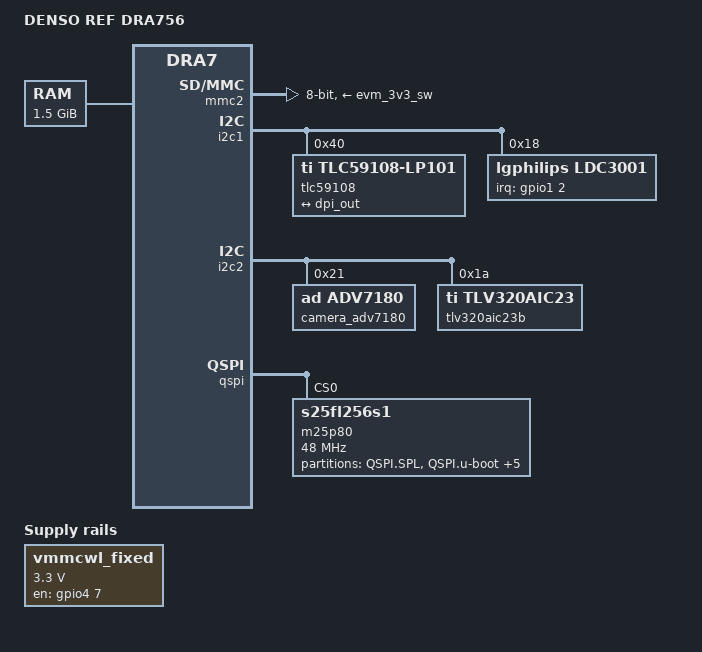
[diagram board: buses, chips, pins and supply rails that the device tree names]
/*
 * Copyright (C) 2013 Texas Instruments Incorporated - http://www.ti.com/
 *
 * This program is free software; you can redistribute it and/or modify
 * it under the terms of the GNU General Public License version 2 as
 * published by the Free Software Foundation.
 */
/dts-v1/;

#include "dra74x.dtsi"
#include <dt-bindings/interrupt-controller/irq.h>
#include <dt-bindings/gpio/gpio.h>
#include <dt-bindings/clk/ti-dra7-atl.h>
#include "dra7-densoJ6.dtsi"

/ {
	model = "DENSO REF DRA756";
	compatible = "denso,dra75xref", "ti,dra74", "ti,dra7";

	memory {
		device_type = "memory";
		reg = <0x80000000 0x60000000>; /* 2Gbyte = 2048 MB */
	};
	
	primary_sound: primary_sound {
		compatible = "ti,dra7xx-densoj6-audio";
		ti,model = "DRA7xx-EVM";
		/* Media DAI link */
		ti,media-cpu = <&mcasp3>;
		ti,media-codec = <&tlv320aic23b>;
		ti,media-mclk-freq =  <5644800>;
		ti,media-slots = <2>;
		clocks = <&sys_clkin1>;
		clock-names = "ti,codec-clock";
		/* symbol names from from tlv320aic23b data sheet" */
		ti,audio-routing =
			"Headphone", "LHPOUT",
			"Headphone", "RHPOUT",
			"LLINEIN", "Line Input",
			"RLINEIN", "Line Input",
			"Line Out", "LOUT",
			"Line Out", "ROUT",
			"MICIN", "Mic Input";
	};

	vmmcwl_fixed: fixedregulator-mmcwl {
		compatible = "regulator-fixed";
		regulator-name = "vmmcwl_fixed";
		regulator-min-microvolt = <3300000>;
		regulator-max-microvolt = <3300000>;
		gpio = <&gpio4 7 0>;	/* gpio4_7 Denso WiFi Enabled */
		startup-delay-us = <70000>;
		enable-active-high;
	};
	
};

&mmc2 {
	status = "okay";
	vmmc-supply = <&evm_3v3_sw>;
	bus-width = <8>;
	pinctrl-names = "default", "hs";
	pinctrl-0 = <&mmc2_pins_default>;
	pinctrl-1 = <&mmc2_pins_hs>;
};

&i2c1 {
	/* TLC chip for LCD panel power and backlight */
	tlc59108: tlc59108@40 {
		compatible = "ti,tlc59108-lp101";
		reg = <0x40>;
		
		port {
			tlc_in: endpoint {
				remote-endpoint = <&dpi_out>;
			};
		};
	};

	ldc3001:ldc3001@18 {
		compatible = "lgphilips,ldc3001";
		status = "okay";
		reg = <0x18>;
		interrupt-parent = <&gpio1>;
		interrupts = <2 IRQ_TYPE_LEVEL_HIGH>;
		max-touch-points = <10>;
		res-x = <1280>;
		res-y = <800>;
	};
};

&i2c2 {
	camera_adv7180: camera_adv7180 {
		compatible = "ad,adv7180";
		reg = <0x21>;
		/*gpios = <&gpio5 25 0>;   only one if IRQ is being used */
		/* interrupts = <27 0x8>; Invalid value */

		port {
			adv7180: endpoint@0 {
				// No props incase of BT656
				hsync-active = <0>; /* This signal is embedded */
				vsync-active = <0>; /* This signal is embedded */
				/* bus-width = <8>; John thinks this is not needed */
				/* channels = <0>; */
			};
		};
	};

	/* TI TLV320AIC23B audio codec */
	tlv320aic23b: tlv320aic23b@1A {
		compatible = "ti,tlv320aic23";
		reg = <0x1A>;
		status = "okay";
	};
};

&dss {
	ports {
		port {
			dpi_out: endpoint {
				remote-endpoint = <&tlc_in>;
			};
		};
	};
};

&voltdm_mpu {
	vdd-supply = <&smps123_reg>;
};

&qspi {
	status = "okay";

	spi-max-frequency = <48000000>;
	m25p80@0 {
		compatible = "s25fl256s1";
		spi-max-frequency = <48000000>;
		reg = <0>;
		spi-tx-bus-width = <1>;
		spi-rx-bus-width = <4>;
		spi-cpol;
		spi-cpha;
		#address-cells = <1>;
		#size-cells = <1>;

		/* MTD partition table.
		 * The ROM checks the first four physical blocks
		 * for a valid file to boot and the flash here is
		 * 64KiB block size.
		 */
		partition@0 {
			label = "QSPI.SPL";
			reg = <0x00000000 0x000050000>;
		};
		partition@1 {
			label = "QSPI.u-boot";
			reg = <0x00080000 0x00080000>;
		};
		partition@2 {
			label = "QSPI.denso-primary";
			reg = <0x00fd0000 0x00010000>;
		};
		partition@3 {
			label = "QSPI.denso-secondary";
			reg = <0x00fe0000 0x00010000>;
		};
		partition@4 {
			label = "QSPI.denso-readonly";
			reg = <0x00ff0000 0x00010000>;
		};
		partition@5 {
			label = "QSPI.denso-bootflags";
			reg = <0x00fc0000 0x00010000>;
		};
		partition@6 {
			label = "QSPI.denso-otp";
			/* Secure Silicon Sector
			 *   Document: S25FL256S.pdf
			 *   Table 8.7
			 *   Page: 58
			 *	 Valid Sector: 0x00 - 0x3FF
			 */
			reg = <0x00000000 0x00010000>;
		};
	};
};
